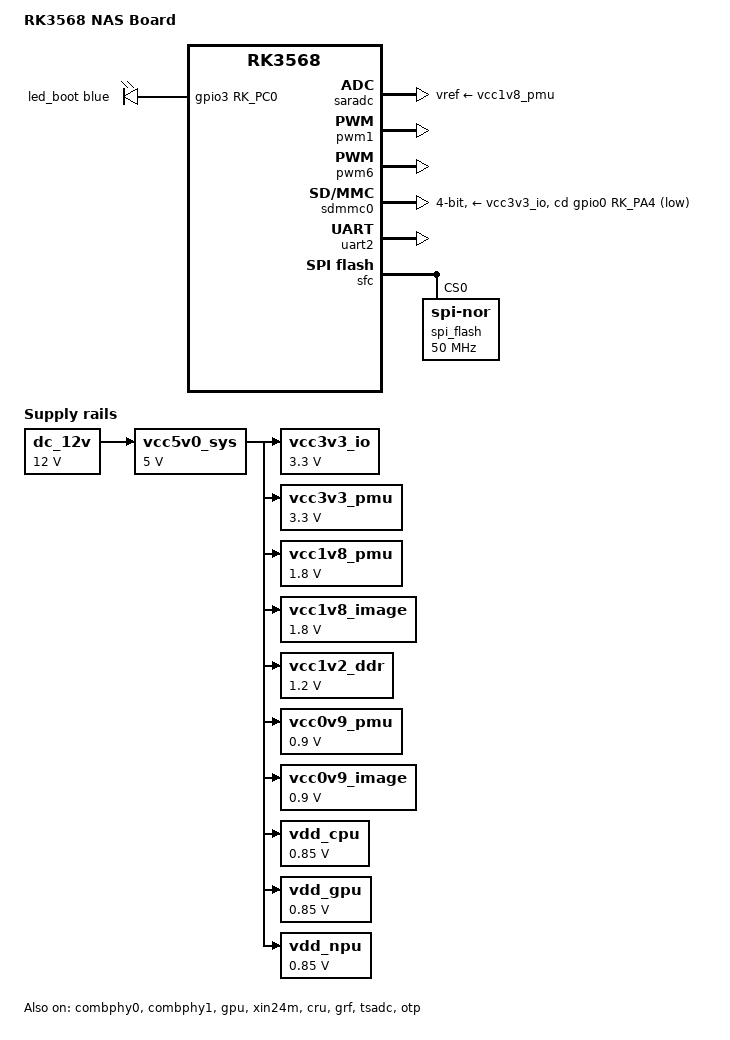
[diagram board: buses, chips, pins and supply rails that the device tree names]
// SPDX-License-Identifier: (GPL-2.0+ OR MIT)
/*
 * Copyright (c) 2021 Rockchip Electronics Co., Ltd.
 *
 */

/dts-v1/;
#include <dt-bindings/gpio/gpio.h>
#include <dt-bindings/leds/common.h>
#include <dt-bindings/pinctrl/rockchip.h>
#include <dt-bindings/soc/rockchip,vop2.h>
#include "rk3568.dtsi"
#include "rk356x-u-boot.dtsi"

/ {
	model = "RK3568 NAS Board";
	compatible = "nas,rk3568", "rockchip,rk3568";

	sysinfo {
		compatible = "u-boot,smbios", "sandbox,sysinfo-sandbox";

		smbios {
			/* Type 1 table */
			system {
				manufacturer = "Julian";
				product = "RK3568-NAS";
				version = "rev1";
				serial = "123456789";
				sku = "sku3";
				family = "NAS";
			};

			/* Type 2 table */
			baseboard {
				manufacturer = "Julian";
				product = "RK3568-NAS";
				asset-tag = "ABC123";
			};

			/* Type 3 table */
			chassis {
				manufacturer = "Julian";
			};
		};
	};

	aliases {
		mmc0 = &sdmmc0;
	};

	chosen: chosen {
		stdout-path = "serial2:1000000n8";
		u-boot,spl-boot-order = "same-as-spl", &sdmmc0;
	};

	dmc: dmc {
		compatible = "rockchip,rk3568-dmc";
		bootph-all;
		status = "okay";
	};

	otp: nvmem@fe38c000 {
		compatible = "rockchip,rk3568-otp";
		reg = <0x0 0xfe38c000 0x0 0x4000>;
		#address-cells = <1>;
		#size-cells = <1>;
		status = "okay";

		cpu_id: id@a {
			reg = <0x0a 0x10>;
		};
	};

	leds {
		compatible = "gpio-leds";

		led_boot: led-2 {
			gpios = <&gpio3 RK_PC0 GPIO_ACTIVE_HIGH>;
			function = LED_FUNCTION_BOOT;
			default-state="on";
			color = <LED_COLOR_ID_BLUE>;
			pinctrl-names = "default";
			pinctrl-0 = <&led_boot_en>;
		};
	};

	dc_12v: dc-12v {
		compatible = "regulator-fixed";
		regulator-name = "dc_12v";
		regulator-always-on;
		regulator-boot-on;
		regulator-min-microvolt = <12000000>;
		regulator-max-microvolt = <12000000>;
	};

	vcc5v0_sys: vcc5v0-sys {
		compatible = "regulator-fixed";
		regulator-name = "vcc5v0_sys";
		regulator-always-on;
		regulator-boot-on;
		regulator-min-microvolt = <5000000>;
		regulator-max-microvolt = <5000000>;
		vin-supply = <&dc_12v>;
	};

	vcc3v3_io: vcc3v3-io {
		compatible = "regulator-fixed";
		regulator-name = "vcc3v3_io";
		regulator-always-on;
		regulator-boot-on;
		regulator-min-microvolt = <3300000>;
		regulator-max-microvolt = <3300000>;
		vin-supply = <&vcc5v0_sys>;
	};

	vcc3v3_pmu: vcc3v3-pmu {
		compatible = "regulator-fixed";
		regulator-name = "vcc3v3_pmu";
		regulator-always-on;
		regulator-boot-on;
		regulator-min-microvolt = <3300000>;
		regulator-max-microvolt = <3300000>;
		vin-supply = <&vcc5v0_sys>;
	}; 

	vcc1v8_pmu: vcc1v8-pmu {
		compatible = "regulator-fixed";
		regulator-name = "vcc1v8_pmu";
		regulator-always-on;
		regulator-boot-on;
		regulator-min-microvolt = <1800000>;
		regulator-max-microvolt = <1800000>;
		vin-supply = <&vcc5v0_sys>;
	}; 

	vcc1v8_image: vcc1v8-image {
		compatible = "regulator-fixed";
		regulator-name = "vcc1v8_image";
		regulator-always-on;
		regulator-boot-on;
		regulator-min-microvolt = <1800000>;
		regulator-max-microvolt = <1800000>;
		vin-supply = <&vcc5v0_sys>;
	}; 

	vcc1v2_ddr: vcc1v2-ddr {
		compatible = "regulator-fixed";
		regulator-name = "vcc1v2_ddr";
		regulator-always-on;
		regulator-boot-on;
		regulator-min-microvolt = <1200000>;
		regulator-max-microvolt = <1200000>;
		vin-supply = <&vcc5v0_sys>;
	}; 

	vcc0v9_pmu: vcc0v9-pmu {
		compatible = "regulator-fixed";
		regulator-name = "vcc0v9_pmu";
		regulator-always-on;
		regulator-boot-on;
		regulator-min-microvolt = <900000>;
		regulator-max-microvolt = <900000>;
		vin-supply = <&vcc5v0_sys>;
	}; 

	vcc0v9_image: vcc0v9-image {
		compatible = "regulator-fixed";
		regulator-name = "vcc0v9_image";
		regulator-always-on;
		regulator-boot-on;
		regulator-min-microvolt = <900000>;
		regulator-max-microvolt = <900000>;
		vin-supply = <&vcc5v0_sys>;
	}; 

	vdd_cpu: vdd-cpu {
		compatible = "regulator-fixed";
		regulator-name = "vdd_cpu";
		regulator-always-on;
		regulator-boot-on;
		regulator-min-microvolt = <850000>;
		regulator-max-microvolt = <850000>;
		vin-supply = <&vcc5v0_sys>;
	}; 

	vdd_gpu: vdd-gpu {
		compatible = "regulator-fixed";
		regulator-name = "vdd_gpu";
		regulator-always-on;
		regulator-boot-on;
		regulator-min-microvolt = <850000>;
		regulator-max-microvolt = <850000>;
		vin-supply = <&vcc5v0_sys>;
	}; 

	vdd_npu: vdd-npu {
		compatible = "regulator-fixed";
		regulator-name = "vdd_npu";
		regulator-always-on;
		regulator-boot-on;
		regulator-min-microvolt = <850000>;
		regulator-max-microvolt = <850000>;
		vin-supply = <&vcc5v0_sys>;
	}; 
};

&pinctrl {
	leds {
		led_hb_en: led_hb_en {
			rockchip,pins = <3 RK_PD3 RK_FUNC_GPIO &pcfg_pull_none>;
		};
		led_boot_en: led_boot_en {
			rockchip,pins = <3 RK_PC0 RK_FUNC_GPIO &pcfg_pull_none>;
		};
	};

};

&combphy0 {
	status = "okay";
};

&combphy1 {
	status = "okay";
};

&cpu0 {
	cpu-supply = <&vdd_cpu>;
};

&cpu1 {
	cpu-supply = <&vdd_cpu>;
};

&cpu2 {
	cpu-supply = <&vdd_cpu>;
};

&cpu3 {
	cpu-supply = <&vdd_cpu>;
};

&gpu {
	mali-supply = <&vdd_gpu>;
	status = "okay";
};


&pmu_io_domains {
	pmuio1-supply = <&vcc3v3_pmu>;
	pmuio2-supply = <&vcc3v3_pmu>;
	vccio1-supply = <&vcc3v3_io>;
	vccio2-supply = <&vcc3v3_io>;
	vccio3-supply = <&vcc3v3_io>;
	vccio4-supply = <&vcc3v3_io>;
	vccio5-supply = <&vcc3v3_io>;
	vccio6-supply = <&vcc3v3_io>;
	vccio7-supply = <&vcc3v3_io>;
	status = "okay";
};

&saradc {
	vref-supply = <&vcc1v8_pmu>;
	status = "okay";
};

&pwm1 {
	pinctrl-names = "default";
	pinctrl-0 = <&pwm1m0_pins>;
	status = "okay";
};

&pwm6 {
	pinctrl-names = "default";
	pinctrl-0 = <&pwm6_pins>;
	status = "okay";
};

&sdmmc0 {
	bus-width = <4>;
	cap-sd-highspeed;
	cd-gpios = <&gpio0 RK_PA4 GPIO_ACTIVE_LOW>;
	disable-wp;
	pinctrl-names = "default";
	pinctrl-0 = <&sdmmc0_bus4 &sdmmc0_clk &sdmmc0_cmd &sdmmc0_det>;
	vmmc-supply = <&vcc3v3_io>;
	vqmmc-supply = <&vcc3v3_io>;
	status = "okay";
	bootph-pre-ram;
	u-boot,dm-spl;
	u-boot,spl-fifo-mode;

};

&sdmmc0_bus4 {
	bootph-all;
};

&sdmmc0_clk {
	bootph-all;
};

&sdmmc0_cmd {
	bootph-all;
};

&sdmmc0_det {
	bootph-all;
};

&uart2m0_xfer {
	bootph-all;
};


&uart2 {
	clock-frequency = <24000000>;
	bootph-pre-ram;
	status = "okay";
};

&xin24m {
	bootph-all;
	status = "okay";
};

&cru {
	bootph-all;
	status = "okay";
};

&pmucru {
	bootph-all;
	status = "okay";
};


&grf {
	bootph-all;
	status = "okay";
};

&pmugrf {
	bootph-all;
	status = "okay";
};

&pinctrl {
	bootph-all;
};

&pcfg_pull_none {
	bootph-all;
};


&pcfg_pull_up_drv_level_2 {
	bootph-all;
};

&pcfg_pull_up {
	bootph-all;
};

&tsadc {
	rockchip,hw-tshut-mode = <1>;
	rockchip,hw-tshut-polarity = <0>;
	status = "okay";
};


&sfc {
	compatible = "rockchip,sfc";
	max-freq = <50000000>;
	reg = <0x0 0xfe300000 0x0 0x4000>;
	interrupts = <GIC_SPI 101 IRQ_TYPE_LEVEL_HIGH>;
	clocks = <&cru SCLK_SFC>, <&cru HCLK_SFC>;
	clock-names = "clk_sfc", "hclk_sfc";
	pinctrl-0 = <&fspi_pins>;
	pinctrl-names = "default";
	status = "okay";

	spi_flash: spi-flash@0 {
			compatible = "jedec,spi-nor";
			reg = <0>;
			spi-max-frequency = <50000000>;
			spi-tx-bus-width = <1>;
			spi-rx-bus-width = <4>;
			status = "okay";
			
	};
};
